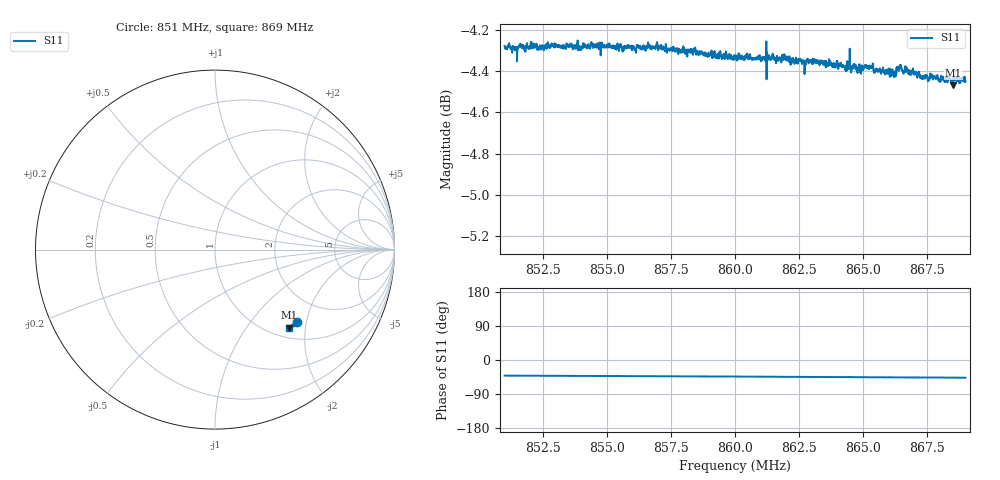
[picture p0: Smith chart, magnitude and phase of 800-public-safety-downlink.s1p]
! Calibrated averaged scanner-service zoom
# Hz S RI R 50
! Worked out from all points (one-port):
!   2001 points, 851 MHz to 869 MHz, reference 50 ohm
!   lowest |S11| = -4.5 dB at 868.52 MHz (marker M1), VSWR 3.97, Z = 59.9 - j81.1 ohm
!   |S11| at or under -10 dB: nowhere
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8.51e8  0.4594 -0.4032
8.51648e8  0.4585 -0.4049
8.5325e8  0.4557 -0.4072
8.555e8  0.4516 -0.4123
8.56049e8  0.4497 -0.413
8.56886e8  0.4485 -0.4146
8.5775e8  0.4462 -0.4167
8.58857e8  0.4416 -0.4188
8.59352e8  0.4413 -0.4187
8.6e8  0.4398 -0.4191
8.61098e8  0.4364 -0.4226
8.61332e8  0.437 -0.4227
8.6225e8  0.4325 -0.4246
8.62736e8  0.431 -0.4249
8.62871e8  0.4297 -0.4267
8.64068e8  0.4265 -0.4285
8.64356e8  0.4249 -0.4275
8.645e8  0.4253 -0.4295
8.6468e8  0.4251 -0.4295
8.64851e8  0.4241 -0.4296
8.65112e8  0.424 -0.4312
8.65607e8  0.4221 -0.4308
8.66129e8  0.4204 -0.4317
8.66399e8  0.4192 -0.4334
8.6675e8  0.418 -0.4335
8.67389e8  0.4167 -0.4323
8.68523e8  0.4107 -0.4345
8.69e8  0.4104 -0.4367
